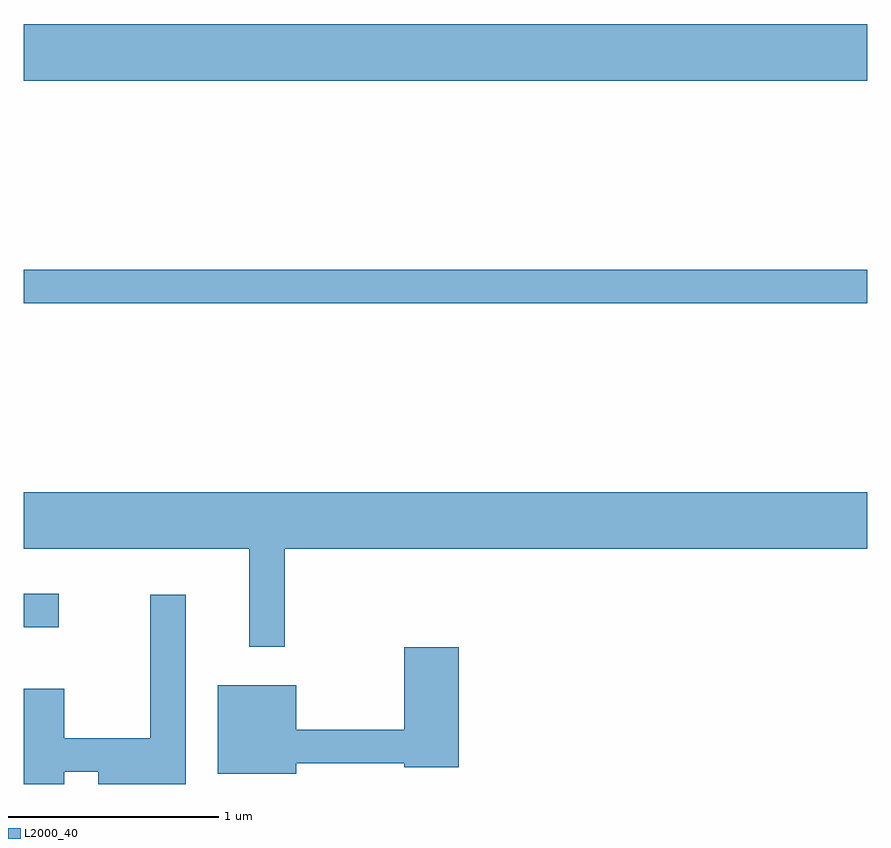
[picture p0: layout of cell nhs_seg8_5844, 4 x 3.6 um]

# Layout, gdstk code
import gdstk
lib = gdstk.Library(unit=1e-6, precision=1e-09)
def R(c, l, rs):  # rectangles x0, y0, x1, y1
    for r in rs: c.add(gdstk.rectangle(r[:2], r[2:], *l))
def P(c, l, *ps):  # polygons
    for p in ps: c.add(gdstk.Polygon(p, *l))
L2000_40 = (2000, 40)

nhs_seg8_5844 = lib.new_cell('nhs_seg8_5844')
R(nhs_seg8_5844, L2000_40, [(359.611,1907.086,359.778,1907.244), (359.611,1908.621,363.611,1908.779), (359.611,1909.676,363.611,1909.944)])
P(nhs_seg8_5844, L2000_40, [(360.849,1907.456),(363.611,1907.456),(363.611,1907.724),(359.611,1907.724),(359.611,1907.456),(360.681,1907.456),(360.681,1906.993),(360.849,1906.993)],
  [(359.804,1906.401),(359.966,1906.401),(359.966,1906.342),(360.379,1906.342),(360.379,1907.238),(360.211,1907.238),(360.211,1906.559),(359.804,1906.559),(359.804,1906.794),(359.611,1906.794),(359.611,1906.342),(359.804,1906.342)],
  [(360.904,1906.441),(361.416,1906.441),(361.416,1906.421),(361.674,1906.421),(361.674,1906.989),(361.416,1906.989),(361.416,1906.599),(360.904,1906.599),(360.904,1906.809),(360.531,1906.809),(360.531,1906.391),(360.904,1906.391)])

lib.write_gds('nhs_seg8_5844.gds')
